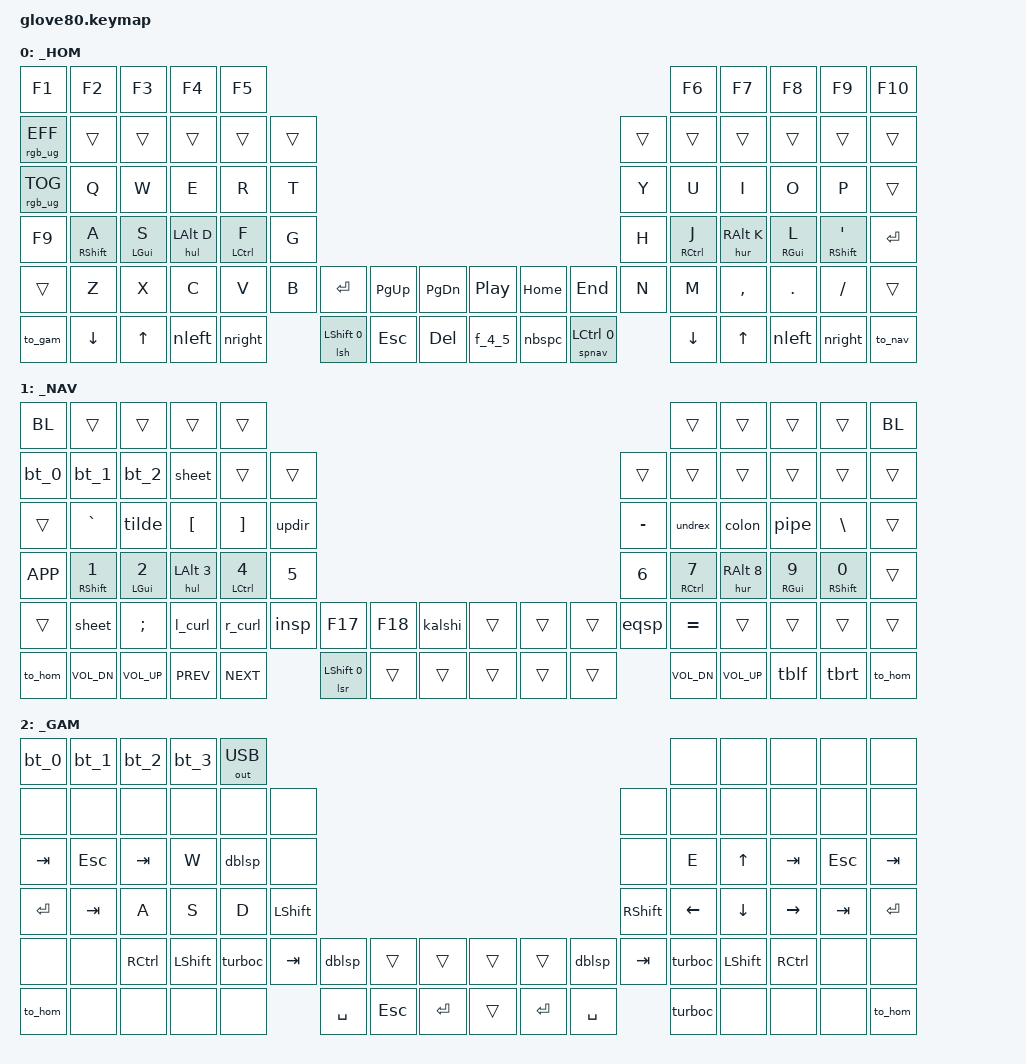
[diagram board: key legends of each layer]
#include <behaviors.dtsi>
#include <dt-bindings/zmk/keys.h>
#include <dt-bindings/zmk/bt.h>
#include <dt-bindings/zmk/ext_power.h>
#include <dt-bindings/zmk/outputs.h>
#include <dt-bindings/zmk/rgb.h>
// mouse import
#include <dt-bindings/zmk/mouse.h>

// helpers
#include "zmk-helpers/helper.h"
// Source desired key-position labels
#include "zmk-helpers/key-labels/glove80.h"

// layers
#define _HOM 0
#define _NAV 1
#define _GAM 2

#define __________ &trans
#define XXXXXXXXXX &none

// syntax shortening
#define BRIDN   C_BRI_DN
#define BRIUP   C_BRI_UP
#define PREV    C_PREV
#define NEXT    C_NEXT
#define MUTE    C_MUTE
#define VOLDN   C_VOL_DN
#define VOLUP   C_VOL_UP
#define PSBRK   PAUSE_BREAK
#define NUM     KP_NUM
#define NPEQ    KP_EQUAL
#define NPDV    KP_DIVIDE
#define NPMP    KP_MULTIPLY
#define NPMN    KP_MINUS
#define NPPL    KP_PLUS
#define NPEN    KP_ENTER
#define NPDT    KP_DOT
#define CMENU   K_CMENU
#define CLR     BT_CLR
#define BL bootloader

//left hand mod shortenings
#define CL      LCTRL
#define SL      LSHFT
#define AL      LALT
#define GL      LGUI

//right hand mod shortening
#define CR      RCTRL
#define SR      RSHFT
#define AR      RALT
#define GR      RGUI

// customs
#define NSHFT   RSHIFT TAB
#define NCTRL   LCTRL SPC
#define SFSP    LSHFT SPC

#define BLU        170
#define GRN         85
#define RED          0
#define PNK        260

#define SAT        100  // saturation
#define MSAT        50  // saturation
#define BRT         25  // brightness


#define R3_L    LT5 LT4 LT3 LT2 LT1 LT0
#define R3_R    RT0 RT1 RT2 RT3 RT4 RT5

#define R4_L    LM5 LM4 LM3 LM2 LM1 LM0
#define R4_R    RM0 RM1 RM2 RM3 RM4 RM5

#define KEYS_L  LC5 LC4 LC3 LC2 LC1 LN5 LN4 LN3 LN2 LN1 LN0 LM5 LM4 LM3 LM2 LM1 LM0 LB5 LB4 LB3 LB2 LB1 LB0 LF5 LF4 LF3 LF2 LF1 // left-hand keys
#define KEYS_R  RC5 RC4 RC3 RC2 RC1 RN5 RN4 RN3 RN2 RN1 RN0 RM5 RM4 RM3 RM2 RM1 RM0 RB5 RB4 RB3 RB2 RB1 RB0 RF5 RF4 RF3 RF2 RF1 // rght-hand keys
#define THUMBS  LH5 LH4 LH3 RH3 RH4 RH5 LH2 LH1 LH0 RH0 RH1 RH2


/* left-hand HRMs */
ZMK_HOLD_TAP(hml,
    flavor = "balanced";
    tapping-term-ms = <280>;
    quick-tap-ms = <200>;                // repeat on tap-into-hold
    require-prior-idle-ms = <150>;
    bindings = <&kp>, <&kp>;
    hold-trigger-key-positions = <KEYS_R R3_R THUMBS>;
    hold-trigger-on-release;             // delay positional check until key-release
    // hold-while-undecided;
)
//same but not using unecied
ZMK_HOLD_TAP(hul,
    flavor = "balanced";
    tapping-term-ms = <280>;
    quick-tap-ms = <200>;                // repeat on tap-into-hold
    require-prior-idle-ms = <150>;
    bindings = <&kp>, <&kp>;
    hold-trigger-key-positions = <KEYS_R R3_R THUMBS>;
    // hold-trigger-on-release;             // delay positional check until key-release
)

/* right-hand HRMs */
ZMK_HOLD_TAP(hmr,
    flavor = "balanced";
    tapping-term-ms = <280>;
    quick-tap-ms = <200>;                // repeat on tap-into-hold
    require-prior-idle-ms = <150>;
    bindings = <&kp>, <&kp>;
    hold-trigger-key-positions = <KEYS_L R3_L THUMBS>;
    hold-trigger-on-release;             // delay positional check until key-release
    // hold-while-undecided;
)
//same but not using undecideds
ZMK_HOLD_TAP(hur,
    flavor = "balanced";
    tapping-term-ms = <280>;
    quick-tap-ms = <200>;                // repeat on tap-into-hold
    require-prior-idle-ms = <150>;
    bindings = <&kp>, <&kp>;
    hold-trigger-key-positions = <KEYS_L R3_L THUMBS>;
    hold-trigger-on-release;             // delay positional check until key-release
)

// [Left Thumb] Tap: Space, Hold: MO Nav
ZMK_HOLD_TAP(spnav,
    flavor = "hold-preferred";
    tapping-term-ms = <200>;
    quick-tap-ms = <0>;                // repeat on tap-into-hold
    require-prior-idle-ms = <160>;     // formerly 140, then 150 getting too many false positives
    bindings = <&htonmo>, <&nspc>;
    // hold-trigger-key-positions = <R4_L R4_R RM0 RM5 RH2 RH4 RH5 RT1 RT2 RT3 RT4 LT3 LT2 LT1>;
                                //backspace       Shift/space
)

/*                               GLOVE80 KEY MATRIX / LAYOUT MAPPING
 ╭────────────────────╮       ╭────────────────────╮ ╭────────────────────╮       ╭────────────────────╮
 │  0   1   2   3   4 ╰───┬───╯  5   6   7   8   9 │ │ LC5 LC4 LC3 LC2 LC1╰───┬───╯ RC1 RC2 RC3 RC4 RC5│
 │ 10  11  12  13  14  15 │ 16  17  18  19  20  21 │ │ LN5 LN4 LN3 LN2 LN1 LN0│ RN0 RN1 RN2 RN3 RN4 RN5│
 │ 22  23  24  25  26  27 │ 28  29  30  31  32  33 │ │ LT5 LT4 LT3 LT2 LT1 LT0│ RT0 RT1 RT2 RT3 RT4 RT5│
 │ 34  35  36  37  38  39 │ 40  41  42  43  44  45 │ │ LM5 LM4 LM3 LM2 LM1 LM0│ RM0 RM1 RM2 RM3 RM4 RM5│
 │ 46  47  48  49  50  51 │ 58  59  60  61  62  63 │ │ LB5 LB4 LB3 LB2 LB1 LB0│ RB0 RB1 RB2 RB3 RB4 RB5│
 │ 64  65  66  67  68 ╭───┴───╮ 75  76  77  78  79 │ │ LF5 LF4 LF3 LF2 LF1╭───┴───╮ RF1 RF2 RF3 RF4 RF5│
 ╰───────────┬────────┴───┬───┴────────┬───────────╯ ╰───────────┬────────┴───┬───┴────────┬───────────╯
             │ 52  53  54 │ 55  56  57 │                         │ LH5 LH4 LH3│ RH3 RH4 RH5│
             │ 69  70  71 │ 72  73  74 │                         │ LH2 LH1 LH0│ RH0 RH1 RH2│
             ╰────────────┴────────────╯                         ╰────────────┴────────────╯
 */

// [Right Thumb] Tap: Tab, Hold: Shift
ZMK_HOLD_TAP(lsh,
    flavor = "hold-preferred";
    tapping-term-ms = <200>;
    bindings = <&kp>, <&ntab>;
    hold-while-undecided;
)

// [Right Thumb] Tap: Space, Hold: Shift
ZMK_HOLD_TAP(lsr,
    flavor = "hold-preferred";
    tapping-term-ms = <200>;
    bindings = <&kp>, <&nspc>;
    hold-while-undecided;
)

/ {
    macros {
        // Bluetoth Profiles
        // -----------------------------------------------------------------------------------------------------------------------------------------------------------------------------------------------------------------
        bt_0: bt_profile_macro_0 {
            compatible = "zmk,behavior-macro";
            #binding-cells = <0>;
            bindings
                = <&out OUT_BLE>,
                  <&bt BT_SEL 0>;
        };
        bt_1: bt_profile_macro_1 {
            compatible = "zmk,behavior-macro";
            #binding-cells = <0>;
            bindings
                = <&out OUT_BLE>,
                  <&bt BT_SEL 1>;
        };
        bt_2: bt_profile_macro_2 {
            compatible = "zmk,behavior-macro";
            #binding-cells = <0>;
            bindings
                = <&out OUT_BLE>,
                  <&bt BT_SEL 2>;
        };
        bt_3: bt_profile_macro_3 {
            compatible = "zmk,behavior-macro";
            #binding-cells = <0>;
            bindings
                = <&out OUT_BLE>,
                  <&bt BT_SEL 3>;
        };

        // Layer Toggles with Colors
        // -----------------------------------------------------------------------------------------------------------------------------------------------------------------------------------------------------------------
        to_hom: to_hom {
            compatible = "zmk,behavior-macro";
            wait-ms = <0>;
            tap-ms = <0>;
            #binding-cells = <0>;
            bindings
                = <&macro_press &to _HOM>
                , <&macro_tap &rgb_ug RGB_COLOR_HSB(BLU, SAT, BRT)>
                ;
        };
        to_nav: to_nav {
            compatible = "zmk,behavior-macro";
            wait-ms = <0>;
            tap-ms = <0>;
            #binding-cells = <0>;
            bindings
                = <&macro_press &to _NAV>
                , <&macro_tap &rgb_ug RGB_COLOR_HSB(RED, SAT, BRT)>
                ;
        };
        to_gam: to_gam {
            compatible = "zmk,behavior-macro";
            wait-ms = <0>;
            tap-ms = <0>;
            #binding-cells = <0>;
            bindings
                = <&macro_press &to _GAM>
                , <&macro_tap &rgb_ug RGB_COLOR_HSB(PNK, SAT, BRT)>
                ;
        };
        htonmo: home_to_nav_momentary {
            compatible = "zmk,behavior-macro";
            wait-ms = <0>;
            tap-ms = <0>;
            #binding-cells = <0>;
            bindings
                = <&macro_tap &rgb_ug RGB_COLOR_HSB(RED, SAT, BRT)>
                , <&macro_press &mo _NAV>
                , <&macro_pause_for_release>
                , <&macro_release &mo _NAV>
                , <&macro_tap &rgb_ug RGB_COLOR_HSB(BLU, SAT, BRT)>
                ;
        };

        // Macros
        // -----------------------------------------------------------------------------------------------------------------------------------------------------------------------------------------------------------------
        cntrc: click_center {                               //                                          (Click Center of Page)
            compatible = "zmk,behavior-macro";
            #binding-cells = <0>;
            bindings
                = <&macro_wait_time 50>
                , <&macro_tap &kp F20 &mkp LCLK>
                ;
        };
        sidec: click_side {                                 //                                          (Click Left Side of Page)
            compatible = "zmk,behavior-macro";
            #binding-cells = <0>;
            bindings
                = <&macro_wait_time 50>
                , <&macro_tap &kp F19 &mkp LCLK>
                ;
        };
        insp: insert_space{                                 //                                          (Space and Move Cursor Left)
            compatible = "zmk,behavior-macro";
            #binding-cells = <0>;
            bindings
                = <&macro_wait_time 10>
                , <&macro_tap &kp SPACE &kp LEFT>
                ;
        };
        kalshi: kalshi_buy{                                 //                                          (Enter + Tab + Tab + Enter)
            compatible = "zmk,behavior-macro";
            #binding-cells = <0>;
            bindings
                = <&kp TAB>
                , <&kp ENTER>
                , <&macro_wait_time 200>
                , <&kp TAB>
                , <&kp TAB>
                , <&kp ENTER>
                ;
        };
        updir: up_directory {                               //                                          (Send "../")
            compatible = "zmk,behavior-macro";
            #binding-cells = <0>;
            wait-ms = <1>;
            tap-ms = <1>;
            bindings
                = <&macro_wait_time 1>
                , <&macro_tap &kp DOT &kp DOT &kp FSLH>
                ;
        };
        dblsp: double_space {                               //                                          (Send "  ")
            compatible = "zmk,behavior-macro";
            wait-ms = <50>;
            tap-ms = <50>;
            #binding-cells = <0>;
            bindings
                = <&macro_tap &kp SPC &kp SPC>
                ;
        };
        turboc: turbo_click {                               //                                          (17 Clicks)
            compatible = "zmk,behavior-macro";
            wait-ms = <30>;
            tap-ms = <30>;
            #binding-cells = <0>;
            bindings
                = <&macro_tap &mkp LCLK &mkp LCLK &mkp LCLK &mkp LCLK &mkp LCLK &mkp LCLK &mkp LCLK &mkp LCLK &mkp LCLK &mkp LCLK &mkp LCLK &mkp LCLK &mkp LCLK &mkp LCLK &mkp LCLK &mkp LCLK &mkp LCLK >
                ;
        };
        mc_selw: mc_select_word {                          //                                          (Select Word)
            compatible = "zmk,behavior-macro";
            wait-ms = <0>;
            tap-ms = <0>;
            #binding-cells = <0>;
            bindings
                = <&macro_tap &kp LA(LEFT) &kp LA(RIGHT)>
                , <&macro_press &kp LA(LS(LEFT))>
                , <&macro_pause_for_release>
                , <&macro_release &kp LA(LS(LEFT))>
                ;
        };
        sheet: google_sheet_button {                               //                                          (17 Clicks)
            compatible = "zmk,behavior-macro";
            wait-ms = <30>;
            tap-ms = <30>;
            #binding-cells = <0>;
            bindings
                = <&macro_tap &kp UP &kp RIGHT &kp RIGHT &kp RIGHT &kp LA(ENTER)>
                ;
        };
        eqsp: equals_space {                                 //                                          (_)
            compatible = "zmk,behavior-macro";
            wait-ms = <0>;
            tap-ms = <0>;
            #binding-cells = <0>;
            bindings
                = <&kp EQUAL &kp LEFT >
                ;
        };


        // -----------------------------------------------------------------------------------------------------------------------------------------------------------------------------------------------------------------
    };

    behaviors {
        //  MOD IRRELEVANT
        // -----------------------------------------------------------------------------------------------------------------------------------------------------------------------------------------------------------------
        colon: colon {                                      // :
            compatible = "zmk,behavior-mod-morph";
            #binding-cells = <0>;
            bindings = <&kp LS(SEMI)>, <&kp LS(SEMI)>;
            mods = <(MOD_LSFT|MOD_RSFT)>;
        };
        l_curl: left_curly_bracket {                        // {
            compatible = "zmk,behavior-mod-morph";
            #binding-cells = <0>;
            bindings = <&kp LS(LBKT)>, <&kp LS(LBKT)>;
            mods = <(MOD_LSFT|MOD_RSFT)>;
        };
        r_curl: right_curly_bracket {                       // }
            compatible = "zmk,behavior-mod-morph";
            #binding-cells = <0>;
            bindings = <&kp LS(RBKT)>, <&kp LS(RBKT)>;
            mods = <(MOD_LSFT|MOD_RSFT)>;
        };
        tilde: tilde {                                      // ~
            compatible = "zmk,behavior-mod-morph";
            #binding-cells = <0>;
            bindings = <&kp LS(GRAVE)>, <&kp LS(GRAVE)>;
            mods = <(MOD_LSFT|MOD_RSFT)>;
        };
        pipe: pipe {                                        // |
            compatible = "zmk,behavior-mod-morph";
            #binding-cells = <0>;
            bindings = <&kp LS(BSLH)>, <&kp LS(BSLH)>;
            mods = <(MOD_LSFT|MOD_RSFT)>;
        };
        tmux: tmux {                          //                                          (Activate Tmux)
            compatible = "zmk,behavior-macro";
            wait-ms = <0>;
            tap-ms = <0>;
            #binding-cells = <0>;
            bindings
                = <&kp LC(B)>
                ;
        };
        msle: mouseless {                          //                                          (Activate Mouseless)
            compatible = "zmk,behavior-macro";
            wait-ms = <0>;
            tap-ms = <0>;
            #binding-cells = <0>;
            bindings
                = <&kp F9>
                ;
        };
        //  SHIFT
        // -----------------------------------------------------------------------------------------------------------------------------------------------------------------------------------------------------------------
        nleft: new_left_arrow {                             // LSFT  + Left  = CTRL + SHFT + TAB        (Move Tab Right)
            compatible = "zmk,behavior-mod-morph";
            #binding-cells = <0>;
            bindings = <&kp LEFT>, <&kp LC(LS(TAB))>;
            mods = <(MOD_LSFT)>;
        };
        nright: new_right_arrow {                           // LSFT  + Right = CTRL + TAB               (Move Tab Right)
            compatible = "zmk,behavior-mod-morph";
            #binding-cells = <0>;
            bindings = <&kp RIGHT>, <&kp LC(TAB)>;
            mods = <(MOD_LSFT)>;
        };
        clickr: clicker {                                   // Shift + clickr= click left               (Click Left of Screen)
            compatible = "zmk,behavior-mod-morph";
            #binding-cells = <0>;
            bindings = <&cntrc>, <&sidec>;
            mods = <(MOD_LSFT|MOD_RSFT)>;
        };
        nbspc: new_backspace {                              // Shift + BSPC  = DELETE                   (Delete)
            compatible = "zmk,behavior-mod-morph";
            #binding-cells = <0>;
            bindings = <&kp BSPC>, <&kp DEL>;
            mods = <(MOD_LSFT|MOD_RSFT)>;
        };
        f_4_5: f_4_5 {                                      // Shift + Home  = Firefox Tab Back         (Firefox Tab Back)
            compatible = "zmk,behavior-mod-morph";
            #binding-cells = <0>;
            bindings = <&kp F4>, <&kp F5>;
            mods = <(MOD_LSFT|MOD_RSFT)>;
        };
        undrex: undr_or_exclamation {                      // Ctrl  +  .    =  )                       (Right Parinthesis)
            compatible = "zmk,behavior-mod-morph";
            #binding-cells = <0>;
            bindings = <&kp LS(MINUS)>, <&kp LS(N1)>;
            mods = <(MOD_LSFT|MOD_RSFT)>;
        };
        comortmux: comma_or_tmux {                      // Ctrl  +  .    =  )                       (Right Parinthesis)
            compatible = "zmk,behavior-mod-morph";
            #binding-cells = <0>;
            bindings = <&tmux>, <&kp COMMA>;
            mods = <(MOD_LSFT|MOD_RSFT)>;
        };
        //  CONTROL
        // -----------------------------------------------------------------------------------------------------------------------------------------------------------------------------------------------------------------
        ntab: new_tab {                                     // Ctl   + Space = CTL + WIN + Right        (Move Desktop Right)
            compatible = "zmk,behavior-mod-morph";
            #binding-cells = <0>;
            bindings = <&kp TAB>, <&kp LC(LG(LEFT))>;
            mods = <(MOD_LCTL|MOD_RCTL)>;
        };
        nspc: new_space {                                   // Ctrl  + Space = CTL + WIN + Left         (Move Desktop Left)
            compatible = "zmk,behavior-mod-morph";
            #binding-cells = <0>;
            bindings = <&nspci>, <&kp LC(LG(RIGHT))>;
            mods = <(MOD_LCTL)>;
        };
        ncomma: new_comma {                                 // Ctrl  +  ,    =  (                       (Left Parinthesis)
            compatible = "zmk,behavior-mod-morph";
            #binding-cells = <0>;
            bindings = <&kp COMMA>, <&kp LS(N9)>;
            mods = <(MOD_LCTL|MOD_RCTL)>;
        };
        nperiod: new_period {                               // Ctrl  +  .    =  )                       (Right Parinthesis)
            compatible = "zmk,behavior-mod-morph";
            #binding-cells = <0>;
            bindings = <&kp DOT>, <&kp LS(N0)>;
            mods = <(MOD_LCTL|MOD_RCTL)>;
        };
        tblf: tab_left {                                   //                                          (Move Left a Tab)
            compatible = "zmk,behavior-mod-morph";
            #binding-cells = <0>;
            bindings = <&kp LC(LS(TAB))>, <&kp LC(LS(TAB))>;
            mods = <(MOD_LCTL|MOD_RCTL)>;
        };
        tbrt: tab_right {                                  //                                          (Move Right a Tab)
            compatible = "zmk,behavior-mod-morph";
            #binding-cells = <0>;
            bindings = <&kp LC(TAB)>, <&kp LC(TAB)>;
            mods = <(MOD_LCTL|MOD_RCTL)>;
        };
        // GUI
        // -----------------------------------------------------------------------------------------------------------------------------------------------------------------------------------------------------------------
        nspci: new_space_intermediate {                     // Ctrl  + Space = CTL + WIN + Left         (Move Desktop Left)
            compatible = "zmk,behavior-mod-morph";
            #binding-cells = <0>;
            bindings = <&kp SPC>, <&kp LC(B)>;
            mods = <(MOD_LGUI)>;
        };
        mslef: mouselessf {                          //                                          (F or activate moutless)
            compatible = "zmk,behavior-mod-morph";
            #binding-cells = <0>;
            bindings = <&kp SPC>, <&kp LC(B)>;
            mods = <(MOD_LGUI)>;
        };
    };

    keymap {
        compatible = "zmk,keymap";

        _HOM {
            bindings = <
            // ┌──────────┬──────────┬──────────┬──────────┬──────────┐                                                                                         ┌──────────┬──────────┬──────────┬──────────┬──────────┐
            // |    F1    |    F2    |    F3    |    F4    |    F5    |                                                                                         |    F6    |    F7    |    F8    |    F9    |    F10   |
                &kp F1     &kp F2     &kp F3      &kp F4    &kp F5                                                                                               &kp F6     &kp F7     &kp F8     &kp F9     &kp F10
            // ├──────────┼──────────┼──────────┼──────────┼──────────┼──────────┐                                                                   ┌──────────┼──────────┼──────────┼──────────┼──────────┼──────────┤
            // |   GUI    |    1     |    2     |    3     |    4     |    5     |                                                                   |    6     |    7     |    8     |    9     |    0     |    \     |
           &rgb_ug RGB_EFF __________ __________ __________ __________ __________                                                                     __________ __________ __________ __________ __________ __________
            // ├──────────┼──────────┼──────────┼──────────┼──────────┼──────────┤                                                                   ├──────────┼──────────┼──────────┼──────────┼──────────┼──────────┤
            // |    -     |    Q     |    W     |    E     |    R     |    T     |                                                                   |    Y     |    U     |    I     |    O     |    P     |    =     |
           &rgb_ug RGB_TOG &kp Q      &kp W      &kp E      &kp R      &kp T                                                                          &kp Y      &kp U      &kp I      &kp O      &kp P      __________
            // ├──────────┼──────────┼──────────┼──────────┼──────────┼──────────┤                                                                   ├──────────┼──────────┼──────────┼──────────┼──────────┼──────────┤
            // |   MENU   |    A     |    S     |    D     |    F     |    G     |                                                                   |    H     |    J     |    K     |    L     |    '     |  ENTER   |
                &kp F9     &hml SR A  &hml GL S  &hul AL D  &hml CL F  &kp G                                                                          &kp H      &hmr CR J  &hur AR K  &hmr GR L  &hmr SR SQT &kp ENTER
            // ├──────────┼──────────┼──────────┼──────────┼──────────┼──────────┼──────────┬──────────┬──────────┐ ┌──────────┬──────────┬──────────┼──────────┼──────────┼──────────┼──────────┼──────────┼──────────┤
            // |    `     |    Z     |    X     |    C     |    V     |    B     |  DELETE  |   PGDN   |   PGUP   | |  System  |   HOME   |   END    |    N     |    M     |    ,     |    .     |    /     | Control  |
                __________ &kp Z      &kp X      &kp C      &kp V      &kp B      &kp ENTER  &kp PG_UP  &kp PG_DN    &kp C_PP   &kp HOME   &kp END    &kp N      &kp M      &kp COMMA  &kp DOT    &kp FSLH   __________
            // ├──────────┼──────────┼──────────┼──────────┼──────────┼──────────┼──────────┼──────────┼──────────┤ ├──────────┼──────────┼──────────┼──────────┼──────────┼──────────┼──────────┼──────────┼──────────┤
            // |  LAYER   |   DOWN   |    UP    |   LEFT   |  RIGHT   |          |  SHIFT   |    ESC   |  ENTER   | |    F4    |BACKSPACE |  SPACE   |          |   DOWN   |    UP    |  LEFT    |  RIGHT   |  LAYER   |
                &to_gam    &kp DOWN   &kp UP     &nleft     &nright               &lsh SL 0  &kp ESC    &kp DEL      &f_4_5     &nbspc     &spnav CL 0           &kp DOWN   &kp UP     &nleft     &nright    &to_nav
            // └──────────┴──────────┴──────────┴──────────┴──────────┘          └──────────┴──────────┴──────────┘ └──────────┴──────────┴──────────┘          └──────────┴──────────┴──────────┴──────────┴──────────┘
            >;
        };
        
        _NAV {
            bindings = <
            // ┌──────────┬──────────┬──────────┬──────────┬──────────┐                                                                                         ┌──────────┬──────────┬──────────┬──────────┬──────────┐
            // |    F1    |    F2    |    F3    |    F4    |    F5    |                                                                                         |    F6    |    F7    |    F8    |    F9    |    F10   |
                &BL        __________ __________ __________ __________                                                                                           __________ __________ __________ __________ &BL
            // ├──────────┼──────────┼──────────┼──────────┼──────────┼──────────┐                                                                   ┌──────────┼──────────┼──────────┼──────────┼──────────┼──────────┤
            // |   GUI    |    1     |    2     |    3     |    4     |    5     |                                                                   |    6     |    7     |    8     |    9     |    0     |    \     |
                &bt_0      &bt_1      &bt_2      &sheet     __________ __________                                                                     __________ __________ __________ __________ __________ __________
            // ├──────────┼──────────┼──────────┼──────────┼──────────┼──────────┤                                                                   ├──────────┼──────────┼──────────┼──────────┼──────────┼──────────┤
            // |    -     |    Q     |    W     |    E     |    R     |    T     |                                                                   |    Y     |    U     |    I     |    O     |    P     |    =     |
                __________ &kp GRAVE  &tilde     &kp LBKT   &kp RBKT   &updir                                                                         &kp MINUS  &undrex    &colon     &pipe      &kp BSLH   __________
            // ├──────────┼──────────┼──────────┼──────────┼──────────┼──────────┤                                                                   ├──────────┼──────────┼──────────┼──────────┼──────────┼──────────┤
            // |   MENU   |    A     |    S     |    D     |    F     |    G     |                                                                   |    H     |    J     |    K     |    L     |    '     |  ENTER   |
                &kp K_APP  &hml SR N1 &hml GL N2 &hul AL N3 &hml CL N4 &kp N5                                                                         &kp N6     &hmr CR N7 &hur AR N8 &hmr GR N9 &hmr SR N0 __________
            // ├──────────┼──────────┼──────────┼──────────┼──────────┼──────────┼──────────┬──────────┬──────────┐ ┌──────────┬──────────┬──────────┼──────────┼──────────┼──────────┼──────────┼──────────┼──────────┤
            // |    `     |    Z     |    X     |    C     |    V     |    B     |   PGUP   |   PGDN   |   PGUP   | |  System  |   HOME   |   END    |    N     |    M     |    ,     |    .     |    /     | Control  |
                __________ &sheet     &kp SEMI   &l_curl    &r_curl    &insp      &kp F17    &kp F18    &kalshi      __________ __________ __________ &eqsp      &kp EQUAL  __________ __________ __________ __________
            // ├──────────┼──────────┼──────────┼──────────┼──────────┼──────────┼──────────┼──────────┼──────────┤ ├──────────┼──────────┼──────────┼──────────┼──────────┼──────────┼──────────┼──────────┼──────────┤
            // |  LAYER   |   DOWN   |    UP    |   LEFT   |  RIGHT   |          |  SHIFT   |    ESC   |  ENTER   | |    F4    |BACKSPACE |  SPACE   |          |   DOWN   |    UP    |  LEFT    |  RIGHT   |  LAYER   |
                &to_hom    &kp VOLDN  &kp VOLUP  &kp PREV   &kp NEXT              &lsr SL 0  __________ __________   __________ __________ __________            &kp VOLDN  &kp VOLUP  &tblf      &tbrt      &to_hom
            // └──────────┴──────────┴──────────┴──────────┴──────────┘          └──────────┴──────────┴──────────┘ └──────────┴──────────┴──────────┘          └──────────┴──────────┴──────────┴──────────┴──────────┘
            >;
        };

        _GAM {
            bindings = <
            // ┌──────────┬──────────┬──────────┬──────────┬──────────┐                                                                                         ┌──────────┬──────────┬──────────┬──────────┬──────────┐
            // |    F1    |    F2    |    F3    |    F4    |    F5    |                                                                                         |    F6    |    F7    |    F8    |    F9    |    F10   |
                &bt_0      &bt_1      &bt_2      &bt_3      &out OUT_USB                                                                                         XXXXXXXXXX XXXXXXXXXX XXXXXXXXXX XXXXXXXXXX XXXXXXXXXX
            // ├──────────┼──────────┼──────────┼──────────┼──────────┼──────────┐                                                                   ┌──────────┼──────────┼──────────┼──────────┼──────────┼──────────┤
            // |   GUI    |    1     |    2     |    3     |    4     |    5     |                                                                   |    6     |    7     |    8     |    9     |    0     |    \     |
                XXXXXXXXXX XXXXXXXXXX XXXXXXXXXX XXXXXXXXXX XXXXXXXXXX XXXXXXXXXX                                                                     XXXXXXXXXX XXXXXXXXXX XXXXXXXXXX XXXXXXXXXX XXXXXXXXXX XXXXXXXXXX
            // ├──────────┼──────────┼──────────┼──────────┼──────────┼──────────┤                                                                   ├──────────┼──────────┼──────────┼──────────┼──────────┼──────────┤
            // |    -     |    Q     |    W     |    E     |    R     |    T     |                                                                   |    Y     |    U     |    I     |    O     |    P     |    =     |
                &kp TAB    &kp ESC    &kp TAB    &kp W      &dblsp     XXXXXXXXXX                                                                     XXXXXXXXXX &kp E      &kp UP     &kp TAB    &kp ESC    &kp TAB
            // ├──────────┼──────────┼──────────┼──────────┼──────────┼──────────┤                                                                   ├──────────┼──────────┼──────────┼──────────┼──────────┼──────────┤
            // |   MENU   |    A     |    S     |    D     |    F     |    G     |                                                                   |    H     |    J     |    K     |    L     |    '     |  ENTER   |
                &kp ENTER  &kp TAB    &kp A      &kp S      &kp D      &kp LSHIFT                                                                     &kp RSHIFT &kp LEFT   &kp DOWN   &kp RIGHT  &kp TAB    &kp ENTER
            // ├──────────┼──────────┼──────────┼──────────┼──────────┼──────────┼──────────┬──────────┬──────────┐ ┌──────────┬──────────┬──────────┼──────────┼──────────┼──────────┼──────────┼──────────┼──────────┤
            // |    `     |    Z     |    X     |    C     |    V     |    B     |   PGUP   |   PGDN   |  DELETE  | |  System  |   HOME   |   END    |    N     |    M     |    ,     |    .     |    /     | Control  |
                XXXXXXXXXX XXXXXXXXXX &kp CR     &kp SL     &turboc    &kp TAB    &dblsp     __________ __________   __________ __________ &dblsp     &kp TAB    &turboc    &kp SL     &kp CR     XXXXXXXXXX XXXXXXXXXX
            // ├──────────┼──────────┼──────────┼──────────┼──────────┼──────────┼──────────┼──────────┼──────────┤ ├──────────┼──────────┼──────────┼──────────┼──────────┼──────────┼──────────┼──────────┼──────────┤
            // |  LAYER   |   DOWN   |    UP    |   LEFT   |  RIGHT   |          |  SHIFT   |    ESC   |  ENTER   | |    F4    |BACKSPACE |  SPACE   |          |   DOWN   |    UP    |  LEFT    |  RIGHT   |  LAYER   |
                &to_hom    XXXXXXXXXX XXXXXXXXXX XXXXXXXXXX XXXXXXXXXX            &kp SPACE  &kp ESC    &kp ENTER    __________ &kp ENTER  &kp SPACE             &turboc    XXXXXXXXXX XXXXXXXXXX XXXXXXXXXX &to_hom
            // └──────────┴──────────┴──────────┴──────────┴──────────┘          └──────────┴──────────┴──────────┘ └──────────┴──────────┴──────────┘          └──────────┴──────────┴──────────┴──────────┴──────────┘
            >;
        };
// ------------------------------------------------------------------------------------------------------------------------------------------------------------------------------------------------------------------------
    };
};
